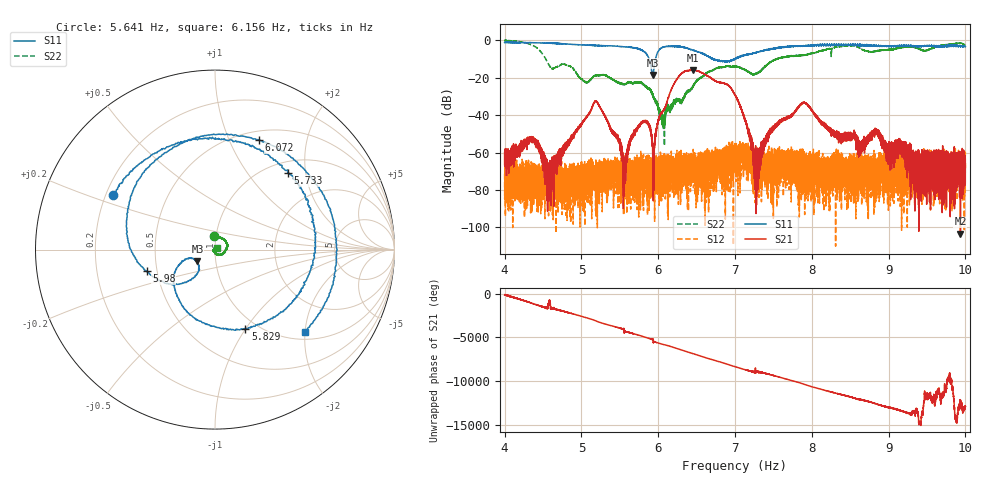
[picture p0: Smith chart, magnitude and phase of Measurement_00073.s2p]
!Created with skrf (http://scikit-rf.org).
# Hz S RI R 50.0
!freq ReS11 ImS11 ReS21 ImS21 ReS12 ImS12 ReS22 ImS22
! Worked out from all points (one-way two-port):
!   14001 points, 4 Hz to 10 Hz, reference 50 ohm
!   highest |S21| = -15.90 dB at 6.447 Hz (marker M1); lowest = -103.3 dB at 9.936 Hz (marker M2)
!   lowest |S11| = -18.6 dB at 5.927 Hz (marker M3), VSWR 1.27, Z = 40.8 - j5.46 ohm
!   |S11| at or under -10 dB: 5.88 Hz to 5.965 Hz (84.5 mHz wide, 1.43 % of centre); 6.710925 Hz to 6.711882 Hz (957.3 uHz wide, 0.0143 % of centre); 6.712 Hz to 6.997 Hz (284.4 mHz wide, 4.15 % of centre) (the widest 3 of 7)
!   |S22| runs from -56.4 to -0.2 dB; largest |S21 - S12| = 0.16
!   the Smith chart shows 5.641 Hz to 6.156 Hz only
!   S11 on the Smith chart (normalised r, x): 5.641 Hz: 0.23, +0.24; 5.733 Hz: 1.21, +1.59; 5.829 Hz: 0.88, -1.00; 5.98 Hz: 0.44, -0.13; 6.072 Hz: 0.60, +1.29; 6.156 Hz: 1.17, -2.01
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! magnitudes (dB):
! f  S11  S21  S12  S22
! 4 Hz  -1.3  -60.1  -71.4  -0.3
! 4.373 Hz  -1.4  -52.6  -82.0  -3.0
! 4.583 Hz  -1.6  -71.0  -77.0  -13.6
! 5 Hz  -2.6  -44.8  -73.2  -20.9
! 5.203 Hz  -2.9  -32.9  -73.7  -18.7
! 5.562 Hz  -3.6  -70.7  -71.1  -23.4
! 5.641 Hz  -3.8  -53.1  -83.0  -22.6
! 5.733 Hz  -4.6  -46.7  -67.6  -22.6
! 5.829 Hz  -6.5  -43.5  -64.6  -24.4
! 5.927 Hz  -18.6  -56.8  -72.1  -29.4
! 5.98 Hz  -8.0  -46.4  -67.1  -33.3
! 6 Hz  -6.0  -43.4  -68.8  -35.7
! 6.072 Hz  -3.6  -37.3  -72.4  -40.0
! 6.156 Hz  -3.3  -28.0  -72.2  -36.9
! 6.447 Hz  -5.4  -15.9  -64.1  -25.2
! 7 Hz  -10.0  -29.3  -57.5  -14.1
! 7.286 Hz  -6.5  -63.1  -63.3  -17.5
! 7.573 Hz  -4.2  -44.3  -60.6  -9.6
! 8 Hz  -3.0  -37.6  -82.5  -6.9
! 9 Hz  -3.3  -61.1  -68.5  -5.0
! 9.936 Hz  -3.5  -103.3  -61.1  -1.8
! 10 Hz  -3.5  -66.0  -66.4  -3.1
